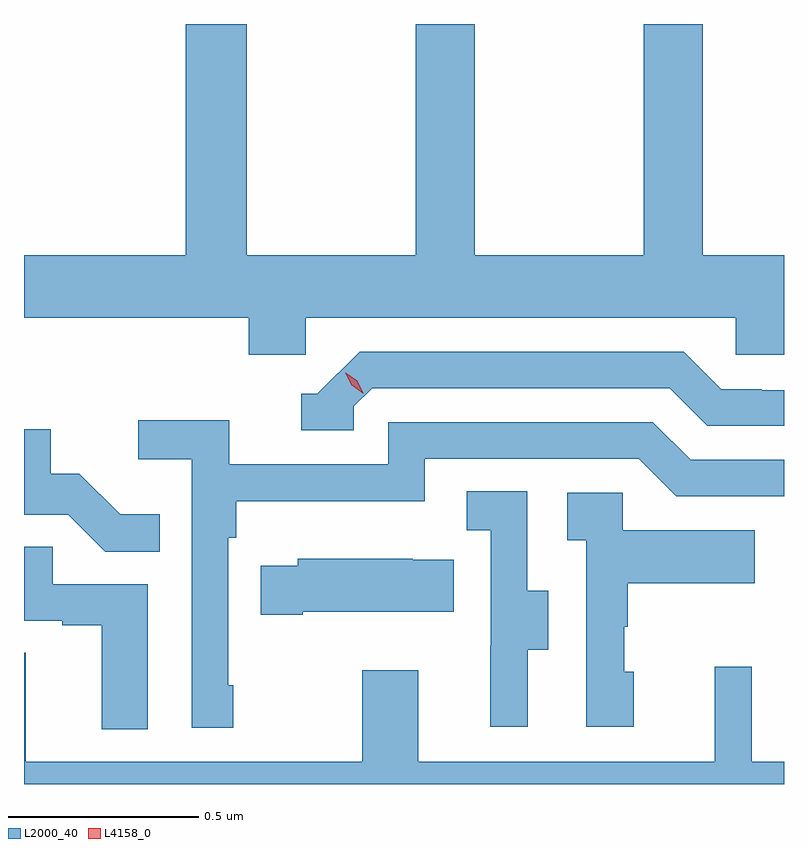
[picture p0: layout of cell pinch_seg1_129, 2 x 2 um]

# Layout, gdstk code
import gdstk
lib = gdstk.Library(unit=1e-6, precision=1e-09)
def P(c, l, *ps):  # polygons
    for p in ps: c.add(gdstk.Polygon(p, *l))
L2000_40 = (2000, 40)
L4158_0 = (4158, 0)

pinch_seg1_129 = lib.new_cell('pinch_seg1_129')
P(pinch_seg1_129, L2000_40, [(1067.442,543.74),(1068.573,543.74),(1068.573,543.642),(1068.7,543.642),(1068.7,543.904),(1068.486,543.904),(1068.486,544.513),(1068.331,544.513),(1068.331,543.904),(1067.886,543.904),(1067.886,544.513),(1067.731,544.513),(1067.731,543.904),(1067.286,543.904),(1067.286,544.513),(1067.126,544.513),(1067.126,543.904),(1066.7,543.904),(1066.7,543.74),(1067.291,543.74),(1067.291,543.642),(1067.442,543.642)],
  [(1067.568,543.507),(1067.616,543.555),(1068.399,543.555),(1068.498,543.456),(1068.7,543.456),(1068.7,543.549),(1068.642,543.549),(1068.642,543.552),(1068.535,543.552),(1068.436,543.651),(1067.583,543.651),(1067.472,543.54),(1067.429,543.54),(1067.429,543.444),(1067.568,543.444)],
  [(1067.251,542.773),(1067.238,542.773),(1067.238,543.161),(1067.258,543.161),(1067.258,543.257),(1067.754,543.257),(1067.754,543.369),(1068.318,543.369),(1068.417,543.27),(1068.7,543.27),(1068.7,543.366),(1068.454,543.366),(1068.355,543.465),(1067.658,543.465),(1067.658,543.354),(1067.24,543.354),(1067.24,543.47),(1067.001,543.47),(1067.001,543.368),(1067.142,543.368),(1067.142,542.661),(1067.251,542.661)],
  [(1067.057,543.223),(1066.953,543.223),(1066.846,543.33),(1066.77,543.33),(1066.77,543.447),(1066.7,543.447),(1066.7,543.222),(1066.816,543.222),(1066.914,543.124),(1067.057,543.124)],
  [(1068.025,542.866),(1068.079,542.866),(1068.079,543.021),(1068.024,543.021),(1068.024,543.284),(1067.865,543.284),(1067.865,543.181),(1067.928,543.181),(1067.928,542.877),(1067.927,542.877),(1067.927,542.664),(1068.025,542.664)],
  [(1068.304,542.808),(1068.279,542.808),(1068.279,542.927),(1068.289,542.927),(1068.289,543.041),(1068.623,543.041),(1068.623,543.181),(1068.276,543.181),(1068.276,543.279),(1068.129,543.279),(1068.129,543.155),(1068.18,543.155),(1068.18,542.664),(1068.304,542.664)],
  [(1067.026,543.039),(1066.775,543.039),(1066.775,543.137),(1066.7,543.137),(1066.7,542.943),(1066.801,542.943),(1066.801,542.931),(1066.904,542.931),(1066.904,542.657),(1067.026,542.657)],
  [(1067.434,542.966),(1067.831,542.966),(1067.831,543.103),(1067.723,543.103),(1067.723,543.106),(1067.421,543.106),(1067.421,543.088),(1067.323,543.088),(1067.323,542.959),(1067.434,542.959)],
  [(1068.7,542.572),(1068.615,542.572),(1068.615,542.821),(1068.518,542.821),(1068.518,542.572),(1067.737,542.572),(1067.737,542.812),(1067.59,542.812),(1067.59,542.572),(1066.705,542.572),(1066.705,542.858),(1066.7,542.858),(1066.7,542.513),(1068.7,542.513)])
P(pinch_seg1_129, L4158_0, [(1067.592,543.541),(1067.562,543.562),(1067.546,543.595),(1067.546,543.595),(1067.547,543.595),(1067.577,543.574),(1067.593,543.541),(1067.593,543.541)])

lib.write_gds('pinch_seg1_129.gds')
